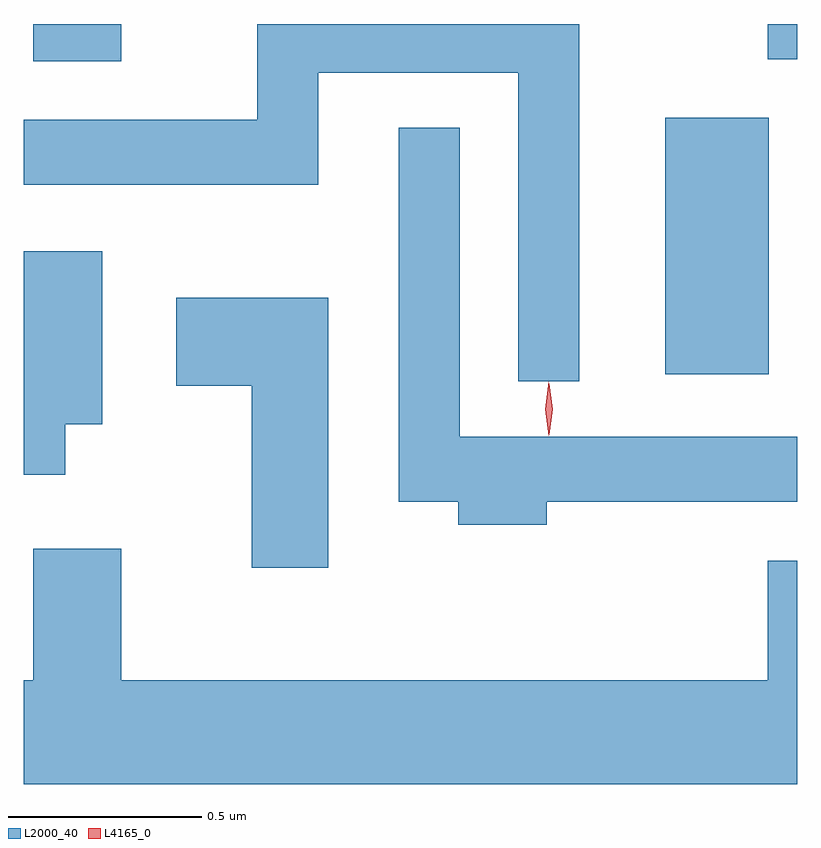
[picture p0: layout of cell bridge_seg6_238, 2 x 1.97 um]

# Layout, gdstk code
import gdstk
lib = gdstk.Library(unit=1e-6, precision=1e-09)
def R(c, l, rs):  # rectangles x0, y0, x1, y1
    for r in rs: c.add(gdstk.rectangle(r[:2], r[2:], *l))
def P(c, l, *ps):  # polygons
    for p in ps: c.add(gdstk.Polygon(p, *l))
L2000_40 = (2000, 40)
L4165_0 = (4165, 0)

bridge_seg6_238 = lib.new_cell('bridge_seg6_238')
R(bridge_seg6_238, L2000_40, [(1128.046,1553.316,1128.314,1553.979), (1126.411,1554.126,1126.639,1554.222), (1128.311,1554.131,1128.387,1554.222)])
P(bridge_seg6_238, L2000_40, [(1127.824,1554.222),(1126.991,1554.222),(1126.991,1553.974),(1126.387,1553.974),(1126.387,1553.806),(1127.149,1553.806),(1127.149,1554.096),(1127.666,1554.096),(1127.666,1553.298),(1127.824,1553.298)],
  [(1127.739,1552.986),(1128.387,1552.986),(1128.387,1553.154),(1127.514,1553.154),(1127.514,1553.953),(1127.356,1553.953),(1127.356,1552.986),(1127.511,1552.986),(1127.511,1552.926),(1127.739,1552.926)],
  [(1126.494,1553.186),(1126.589,1553.186),(1126.589,1553.634),(1126.387,1553.634),(1126.387,1553.056),(1126.494,1553.056)],
  [(1127.174,1553.514),(1126.781,1553.514),(1126.781,1553.286),(1126.976,1553.286),(1126.976,1552.816),(1127.174,1552.816)],
  [(1128.387,1552.834),(1128.311,1552.834),(1128.311,1552.524),(1126.639,1552.524),(1126.639,1552.864),(1126.411,1552.864),(1126.411,1552.524),(1126.387,1552.524),(1126.387,1552.256),(1128.387,1552.256)])
P(bridge_seg6_238, L4165_0, [(1127.744,1553.157),(1127.735,1553.226),(1127.744,1553.296),(1127.745,1553.296),(1127.745,1553.296),(1127.755,1553.226),(1127.745,1553.157),(1127.745,1553.157)],
  [(1127.745,1553.159),(1127.745,1553.16),(1127.735,1553.226),(1127.745,1553.292),(1127.745,1553.293),(1127.746,1553.292),(1127.755,1553.226),(1127.746,1553.16)])

lib.write_gds('bridge_seg6_238.gds')
